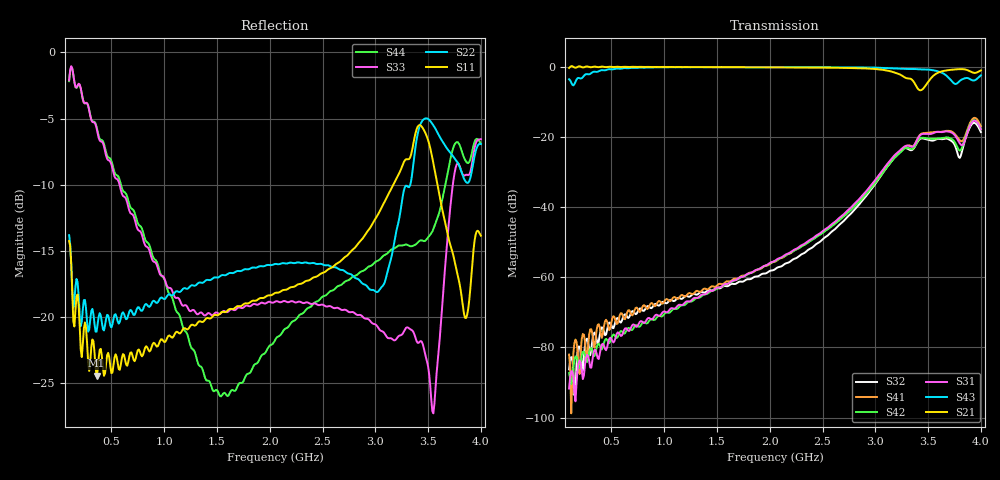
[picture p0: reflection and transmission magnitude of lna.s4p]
! agentee lna-rf
! ports IN AMP_IN AMP_OUT OUT
# Hz S RI R 50
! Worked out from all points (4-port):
!   391 points, 100 MHz to 4 GHz, reference 50 ohm
!   strongest paths, dB at 100 MHz, 1.07 GHz, 2.05 GHz, 3.03 GHz, 4 GHz:
!     S21: -0.4, -0.1, -0.2, -0.8, -1.1
!     S43: -3.6, -0.2, -0.2, -0.3, -2.5
!     S31: -91.7, -68.8, -55.3, -31.1, -17.9
!     S42: -87.3, -69.6, -55.5, -31.9, -17.8
!     S41: -82.1, -66.5, -55.6, -31.2, -17.0
!     S32: -86.3, -66.5, -57.8, -32.1, -18.7
!   lowest |S11| = -24.4 dB at 360 MHz (marker M1), VSWR 1.13, Z = 47.6 - j5.36 ohm
!   |S11| at or under -10 dB: start of sweep to 3.171 GHz; 3.589 GHz to end of sweep
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1e8  0.0336 -0.1909  0.946 0.1282  2.41e-05 -3.86e-06  3.38e-05 7.29e-05
     0.9445 0.1361  0.0815 -0.1869  -4.78e-05 -5.23e-06  -1.04e-05 -4.22e-05
     2.58e-05 -1.71e-06  -4.83e-05 -5.65e-06  -0.7834 0.0475  0.088 0.6627
     3.18e-05 7.22e-05  -9e-06 -4.2e-05  0.0826 0.6536  -0.7742 0.0787
3.6e8  -0.0212 -0.0561  0.9766 -0.1402  -1.44e-05 -8.18e-05  -3.38e-05 0.00017
       0.9782 -0.1391  0.0168 -0.0864  1.56e-05 0.000127  -2.04e-05 -9.13e-05
       -1.69e-05 -8.04e-05  1.75e-05 0.000128  -0.2316 0.4624  0.7677 0.3268
       -3.7e-05 0.000171  -1.82e-05 -9.61e-05  0.7691 0.3354  -0.1698 0.4956
1.53e9  -0.0979 -0.0327  0.7245 -0.6587  -0.000524 -0.00052  0.000283 0.000734
        0.7242 -0.6602  -0.1321 -0.0539  0.000611 0.000318  -0.000415 -0.000533
        -0.000512 -0.000502  0.00062 0.000313  -0.0471 0.0914  0.6094 -0.7613
        0.000282 0.000753  -0.000447 -0.000564  0.6088 -0.7653  0.00667 0.0499
3.26e9  0.1755 0.3332  -0.2596 -0.7207  0.0451 0.0625  0.0691 0.00543
        -0.1951 -0.7035  -0.2842 0.0326  -0.0537 0.0398  -0.00598 0.0601
        0.0398 0.057  -0.0518 0.0416  0.0847 0.0182  -0.5816 -0.6898
        0.067 0.00573  -0.0032 0.0647  -0.6123 -0.6932  0.1561 0.1021
3.55e9  0.3179 -0.2106  0.1489 -0.6573  0.0884 -0.0778  0.0266 -0.1086
        0.194 -0.7136  -0.1849 0.4968  0.0707 0.0616  0.0905 0.011
        0.0905 -0.0671  0.0677 0.0567  0.0386 0.0196  -0.7261 -0.4646
        0.0341 -0.1113  0.0931 0.00707  -0.7624 -0.4478  0.182 0.1144
3.75e9  0.0913 -0.1358  -0.0264 -0.8508  -0.0414 -0.1035  -0.0718 -0.0832
        -0.03 -0.9062  0.0287 0.397  0.0685 -0.0414  0.053 -0.0636
        -0.0307 -0.1018  0.0653 -0.0421  0.2934 0.189  -0.514 -0.2621
        -0.0677 -0.0875  0.0506 -0.0684  -0.5167 -0.2401  0.4371 0.0985
4e9  0.1322 -0.154  -0.1124 -0.8084  -0.1209 0.0187  -0.12 0.0355
     -0.1227 -0.8709  0.0962 0.44  -0.0589 -0.1139  -0.0774 -0.1072
     -0.1263 0.0205  -0.0562 -0.1022  0.4046 -0.2394  -0.5881 -0.4587
     -0.1326 0.0469  -0.0828 -0.0992  -0.5958 -0.4538  0.3815 -0.2434
